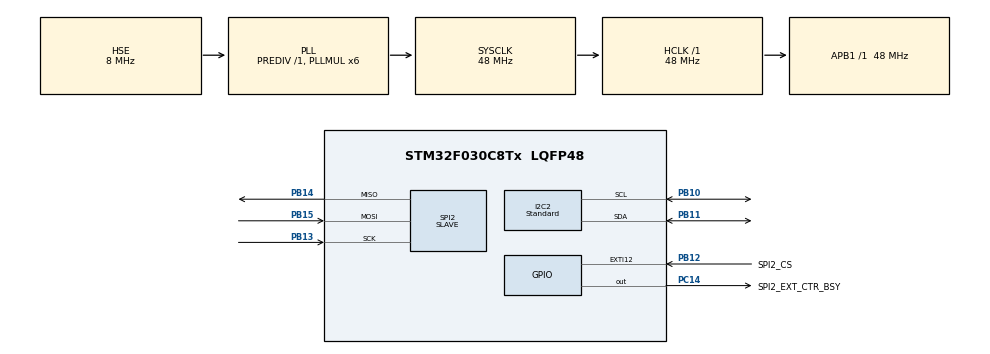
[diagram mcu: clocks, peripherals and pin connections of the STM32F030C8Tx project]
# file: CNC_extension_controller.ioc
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I2C2.Analog_Filter=I2C_ANALOGFILTER_DISABLE
I2C2.I2C_Speed_Mode=I2C_Standard
I2C2.NoStretchMode=I2C_NOSTRETCH_DISABLE
I2C2.Timing=0x10805E89
Mcu.Family=STM32F0
Mcu.Name=STM32F030C8Tx
Mcu.Package=LQFP48
NVIC.EXTI4_15_IRQn=true\:1\:0\:true\:false\:true\:true\:true\:true
NVIC.SPI2_IRQn=true\:2\:0\:true\:false\:true\:true\:true\:true
NVIC.TIM15_IRQn=true\:0\:0\:true\:false\:true\:true\:true\:true
PA13.Mode=Serial_Wire
PA13.Signal=SYS_SWDIO
PA14.Mode=Serial_Wire
PA14.Signal=SYS_SWCLK
PB10.GPIO_Pu=GPIO_NOPULL
PB10.GPIO_Speed=GPIO_SPEED_FREQ_MEDIUM
PB10.Mode=I2C
PB10.Signal=I2C2_SCL
PB11.GPIO_Pu=GPIO_NOPULL
PB11.GPIO_Speed=GPIO_SPEED_FREQ_MEDIUM
PB11.Mode=I2C
PB11.Signal=I2C2_SDA
PB12.GPIO_Label=SPI2_CS
PB12.GPIO_ModeDefaultEXTI=GPIO_MODE_IT_RISING_FALLING
PB12.Signal=GPXTI12
PB13.GPIO_PuPd=GPIO_PULLDOWN
PB13.Mode=Full_Duplex_Slave
PB13.Signal=SPI2_SCK
PB14.GPIO_PuPd=GPIO_NOPULL
PB14.Mode=Full_Duplex_Slave
PB14.Signal=SPI2_MISO
PB15.GPIO_PuPd=GPIO_NOPULL
PB15.Mode=Full_Duplex_Slave
PB15.Signal=SPI2_MOSI
PC14-OSC32_IN.GPIO_Label=SPI2_EXT_CTR_BSY
PC14-OSC32_IN.Signal=GPIO_Output
PF0-OSC_IN.Mode=HSE-External-Oscillator
PF0-OSC_IN.Signal=RCC_OSC_IN
PF1-OSC_OUT.Mode=HSE-External-Oscillator
PF1-OSC_OUT.Signal=RCC_OSC_OUT
ProjectManager.HeapSize=0x200
ProjectManager.StackSize=0x400
ProjectManager.TargetToolchain=STM32CubeIDE
RCC.AHBFreq_Value=48000000
RCC.APB1Freq_Value=48000000
RCC.APB1TimFreq_Value=48000000
RCC.HCLKFreq_Value=48000000
RCC.PLLMUL=RCC_PLL_MUL6
RCC.PLLSourceVirtual=RCC_PLLSOURCE_HSE
RCC.SYSCLKFreq_VALUE=48000000
RCC.SYSCLKSource=RCC_SYSCLKSOURCE_PLLCLK
SPI2.DataSize=SPI_DATASIZE_8BIT
SPI2.Direction=SPI_DIRECTION_2LINES
SPI2.Mode=SPI_MODE_SLAVE
SPI2.VirtualType=VM_SLAVE
TIM15.Channel-Output\ Compare1\ No\ Output=TIM_CHANNEL_1
TIM15.Prescaler=48
TIM15.Pulse-Output\ Compare1\ No\ Output=1
VP_TIM15_VS_ClockSourceINT.Mode=Internal
VP_TIM15_VS_no_output1.Mode=Output Compare1 No Output
board=custom

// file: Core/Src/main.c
/* USER CODE BEGIN Header */
/**
  ******************************************************************************
  * @file           : main.c
  * @brief          : Main program body
  ******************************************************************************
  * @attention
  *
  * Copyright (c) 2024 STMicroelectronics.
  * All rights reserved.
  *
  * This software is licensed under terms that can be found in the LICENSE file
  * in the root directory of this software component.
  * If no LICENSE file comes with this software, it is provided AS-IS.
  *
  ******************************************************************************
  */
/* USER CODE END Header */
#include "main.h"

I2C_HandleTypeDef hi2c2;

/* USER CODE BEGIN PV */
volatile uint8_t us_delay_flag = 0;

volatile uint8_t printing = 0;
volatile uint8_t reprint = 0;

extern volatile uint8_t spi2Buff[SPI2BUFFSIZE];

extern constant uint8_t stpcat [682];
extern volatile uint8_t spi2State;

extern volatile uint8_t line1Buff[LINEBUFFSIZE];
extern volatile uint8_t line2Buff[LINEBUFFSIZE];
extern volatile uint8_t line3Buff[LINEBUFFSIZE];
extern volatile uint8_t line4Buff[LINEBUFFSIZE];

extern volatile uint8_t lineupdate;

/* USER CODE END PV */

void SystemClock_Config(void);
static void MX_GPIO_Init(void);
static void MX_SPI2_Init(void);
static void MX_TIM15_Init(void);
static void MX_I2C2_Init(void);

int main(void)
{

  /* MCU Configuration--------------------------------------------------------*/

  /* Reset of all peripherals, Initializes the Flash interface and the Systick. */
  HAL_Init();

  /* Configure the system clock */
  SystemClock_Config();

  /* Initialize all configured peripherals */
  MX_GPIO_Init();
  MX_SPI2_Init();
  MX_TIM15_Init();
  MX_I2C2_Init();
  /* USER CODE BEGIN 2 */

  __enable_irq();

  msDelay(10);

  //LCD_init();
  oled_init();

  print_bmp_H(21, 63, stpcat, Pixel_on, Overwrite);
  print_disp_mat();
  /* USER CODE END 2 */

  /* Infinite loop */
  /* USER CODE BEGIN WHILE */

  while (1)
  {
	if((lineupdate != 0) || (reprint == 1))
	{
	  if(lineupdate&LINEUPDATE1MSK)
	  {
		fill_rectangle_x1y1_x2y2(0, 0, 8, 127, Pixel_off);
		(void)write_text_H(0, 55, (char*)line1Buff, Pixel_on, size_5x8);
		lineupdate &= (~LINEUPDATE1MSK);
	  }

	  if(lineupdate&LINEUPDATE2MSK)
	  {
		fill_rectangle_x1y1_x2y2(10, 0, 18, 127, Pixel_off);
		(void)write_text_H(0, 45, (char*)line2Buff, Pixel_on, size_5x8);
		lineupdate &= (~LINEUPDATE2MSK);
	  }

	  if(lineupdate&LINEUPDATE3MSK)
	  {
		fill_rectangle_x1y1_x2y2(20, 0, 28, 127, Pixel_off);
		write_text_H(0, 35, (char*)line3Buff, Pixel_on, size_5x8);
		lineupdate &= (~LINEUPDATE3MSK);
	  }

	  if(lineupdate&LINEUPDATE4MSK)
	  {
		fill_rectangle_x1y1_x2y2(10, 0, 18, 127, Pixel_off);
		(void)write_text_H(0, 45, (char*)line2Buff, Pixel_on, size_5x8);
		fill_rectangle_x1y1_x2y2(30, 0, 38, 127, Pixel_off);
		(void)write_text_H(0, 25, (char*)line4Buff, Pixel_on, size_5x8);
		lineupdate &= (~LINEUPDATE4MSK);
	  }

	  reprint = 0;
	  printing = 1;
	  print_disp_mat();
	  printing = 0;

	}

    /* USER CODE END WHILE */

  }
}

void SystemClock_Config(void)
{
  RCC_OscInitTypeDef RCC_OscInitStruct = {0};
  RCC_ClkInitTypeDef RCC_ClkInitStruct = {0};

  /** Initializes the RCC Oscillators according to the specified parameters
  * in the RCC_OscInitTypeDef structure.
  */
  RCC_OscInitStruct.OscillatorType = RCC_OSCILLATORTYPE_HSE;
  RCC_OscInitStruct.HSEState = RCC_HSE_ON;
  RCC_OscInitStruct.PLL.PLLState = RCC_PLL_ON;
  RCC_OscInitStruct.PLL.PLLSource = RCC_PLLSOURCE_HSE;
  RCC_OscInitStruct.PLL.PLLMUL = RCC_PLL_MUL6;
  RCC_OscInitStruct.PLL.PREDIV = RCC_PREDIV_DIV1;
  if (HAL_RCC_OscConfig(&RCC_OscInitStruct) != HAL_OK)
  {
    Error_Handler();
  }

  /** Initializes the CPU, AHB and APB buses clocks
  */
  RCC_ClkInitStruct.ClockType = RCC_CLOCKTYPE_HCLK|RCC_CLOCKTYPE_SYSCLK
                              |RCC_CLOCKTYPE_PCLK1;
  RCC_ClkInitStruct.SYSCLKSource = RCC_SYSCLKSOURCE_PLLCLK;
  RCC_ClkInitStruct.AHBCLKDivider = RCC_SYSCLK_DIV1;
  RCC_ClkInitStruct.APB1CLKDivider = RCC_HCLK_DIV1;

  if (HAL_RCC_ClockConfig(&RCC_ClkInitStruct, FLASH_LATENCY_1) != HAL_OK)
  {
    Error_Handler();
  }
}

static void MX_I2C2_Init(void)
{

  hi2c2.Instance = I2C2;
  hi2c2.Init.Timing = 0x10805E89;
  hi2c2.Init.OwnAddress1 = 0;
  hi2c2.Init.AddressingMode = I2C_ADDRESSINGMODE_7BIT;
  hi2c2.Init.DualAddressMode = I2C_DUALADDRESS_DISABLE;
  hi2c2.Init.OwnAddress2 = 0;
  hi2c2.Init.OwnAddress2Masks = I2C_OA2_NOMASK;
  hi2c2.Init.GeneralCallMode = I2C_GENERALCALL_DISABLE;
  hi2c2.Init.NoStretchMode = I2C_NOSTRETCH_DISABLE;
  if (HAL_I2C_Init(&hi2c2) != HAL_OK)
  {
    Error_Handler();
  }

  /** Configure Analogue filter
  */
  if (HAL_I2CEx_ConfigAnalogFilter(&hi2c2, I2C_ANALOGFILTER_DISABLE) != HAL_OK)
  {
    Error_Handler();
  }

  /** Configure Digital filter
  */
  if (HAL_I2CEx_ConfigDigitalFilter(&hi2c2, 0) != HAL_OK)
  {
    Error_Handler();
  }

}

static void MX_SPI2_Init(void)
{

  LL_SPI_InitTypeDef SPI_InitStruct = {0};

  LL_GPIO_InitTypeDef GPIO_InitStruct = {0};

  /* Peripheral clock enable */
  LL_APB1_GRP1_EnableClock(LL_APB1_GRP1_PERIPH_SPI2);

  LL_AHB1_GRP1_EnableClock(LL_AHB1_GRP1_PERIPH_GPIOB);
  /**SPI2 GPIO Configuration
  PB13   ------> SPI2_SCK
  PB14   ------> SPI2_MISO
  PB15   ------> SPI2_MOSI
  */
  GPIO_InitStruct.Pin = LL_GPIO_PIN_13;
  GPIO_InitStruct.Mode = LL_GPIO_MODE_ALTERNATE;
  GPIO_InitStruct.Speed = LL_GPIO_SPEED_FREQ_HIGH;
  GPIO_InitStruct.OutputType = LL_GPIO_OUTPUT_PUSHPULL;
  GPIO_InitStruct.Pull = LL_GPIO_PULL_DOWN;
  GPIO_InitStruct.Alternate = LL_GPIO_AF_0;
  LL_GPIO_Init(GPIOB, &GPIO_InitStruct);

  GPIO_InitStruct.Pin = LL_GPIO_PIN_14;
  GPIO_InitStruct.Mode = LL_GPIO_MODE_ALTERNATE;
  GPIO_InitStruct.Speed = LL_GPIO_SPEED_FREQ_HIGH;
  GPIO_InitStruct.OutputType = LL_GPIO_OUTPUT_PUSHPULL;
  GPIO_InitStruct.Pull = LL_GPIO_PULL_NO;
  GPIO_InitStruct.Alternate = LL_GPIO_AF_0;
  LL_GPIO_Init(GPIOB, &GPIO_InitStruct);

  GPIO_InitStruct.Pin = LL_GPIO_PIN_15;
  GPIO_InitStruct.Mode = LL_GPIO_MODE_ALTERNATE;
  GPIO_InitStruct.Speed = LL_GPIO_SPEED_FREQ_HIGH;
  GPIO_InitStruct.OutputType = LL_GPIO_OUTPUT_PUSHPULL;
  GPIO_InitStruct.Pull = LL_GPIO_PULL_NO;
  GPIO_InitStruct.Alternate = LL_GPIO_AF_0;
  LL_GPIO_Init(GPIOB, &GPIO_InitStruct);

  /* SPI2 interrupt Init */
  NVIC_SetPriority(SPI2_IRQn, 2);
  NVIC_EnableIRQ(SPI2_IRQn);

  /* SPI2 parameter configuration*/
  SPI_InitStruct.TransferDirection = LL_SPI_FULL_DUPLEX;
  SPI_InitStruct.Mode = LL_SPI_MODE_SLAVE;
  SPI_InitStruct.DataWidth = LL_SPI_DATAWIDTH_8BIT;
  SPI_InitStruct.ClockPolarity = LL_SPI_POLARITY_LOW;
  SPI_InitStruct.ClockPhase = LL_SPI_PHASE_1EDGE;
  SPI_InitStruct.NSS = LL_SPI_NSS_SOFT;
  SPI_InitStruct.BitOrder = LL_SPI_MSB_FIRST;
  SPI_InitStruct.CRCCalculation = LL_SPI_CRCCALCULATION_DISABLE;
  SPI_InitStruct.CRCPoly = 7;
  LL_SPI_Init(SPI2, &SPI_InitStruct);
  LL_SPI_SetStandard(SPI2, LL_SPI_PROTOCOL_MOTOROLA);
  LL_SPI_DisableNSSPulseMgt(SPI2);

}

static void MX_TIM15_Init(void)
{

  LL_TIM_InitTypeDef TIM_InitStruct = {0};
  LL_TIM_OC_InitTypeDef TIM_OC_InitStruct = {0};
  LL_TIM_BDTR_InitTypeDef TIM_BDTRInitStruct = {0};

  /* Peripheral clock enable */
  LL_APB1_GRP2_EnableClock(LL_APB1_GRP2_PERIPH_TIM15);

  /* TIM15 interrupt Init */
  NVIC_SetPriority(TIM15_IRQn, 0);
  NVIC_EnableIRQ(TIM15_IRQn);

  TIM_InitStruct.Prescaler = 48;
  TIM_InitStruct.CounterMode = LL_TIM_COUNTERMODE_UP;
  TIM_InitStruct.Autoreload = 65535;
  TIM_InitStruct.ClockDivision = LL_TIM_CLOCKDIVISION_DIV1;
  TIM_InitStruct.RepetitionCounter = 0;
  LL_TIM_Init(TIM15, &TIM_InitStruct);
  LL_TIM_DisableARRPreload(TIM15);
  LL_TIM_SetClockSource(TIM15, LL_TIM_CLOCKSOURCE_INTERNAL);
  TIM_OC_InitStruct.OCMode = LL_TIM_OCMODE_FROZEN;
  TIM_OC_InitStruct.OCState = LL_TIM_OCSTATE_DISABLE;
  TIM_OC_InitStruct.OCNState = LL_TIM_OCSTATE_DISABLE;
  TIM_OC_InitStruct.CompareValue = 1;
  TIM_OC_InitStruct.OCPolarity = LL_TIM_OCPOLARITY_HIGH;
  TIM_OC_InitStruct.OCNPolarity = LL_TIM_OCPOLARITY_HIGH;
  TIM_OC_InitStruct.OCIdleState = LL_TIM_OCIDLESTATE_LOW;
  TIM_OC_InitStruct.OCNIdleState = LL_TIM_OCIDLESTATE_LOW;
  LL_TIM_OC_Init(TIM15, LL_TIM_CHANNEL_CH1, &TIM_OC_InitStruct);
  LL_TIM_OC_DisableFast(TIM15, LL_TIM_CHANNEL_CH1);
  LL_TIM_SetTriggerOutput(TIM15, LL_TIM_TRGO_RESET);
  LL_TIM_DisableMasterSlaveMode(TIM15);
  TIM_BDTRInitStruct.OSSRState = LL_TIM_OSSR_DISABLE;
  TIM_BDTRInitStruct.OSSIState = LL_TIM_OSSI_DISABLE;
  TIM_BDTRInitStruct.LockLevel = LL_TIM_LOCKLEVEL_OFF;
  TIM_BDTRInitStruct.DeadTime = 0;
  TIM_BDTRInitStruct.BreakState = LL_TIM_BREAK_DISABLE;
  TIM_BDTRInitStruct.BreakPolarity = LL_TIM_BREAK_POLARITY_HIGH;
  TIM_BDTRInitStruct.AutomaticOutput = LL_TIM_AUTOMATICOUTPUT_DISABLE;
  LL_TIM_BDTR_Init(TIM15, &TIM_BDTRInitStruct);

}

static void MX_GPIO_Init(void)
{
  LL_EXTI_InitTypeDef EXTI_InitStruct = {0};
  LL_GPIO_InitTypeDef GPIO_InitStruct = {0};

  /* GPIO Ports Clock Enable */
  LL_AHB1_GRP1_EnableClock(LL_AHB1_GRP1_PERIPH_GPIOC);
  LL_AHB1_GRP1_EnableClock(LL_AHB1_GRP1_PERIPH_GPIOF);
  LL_AHB1_GRP1_EnableClock(LL_AHB1_GRP1_PERIPH_GPIOB);
  LL_AHB1_GRP1_EnableClock(LL_AHB1_GRP1_PERIPH_GPIOA);

  /**/
  LL_GPIO_ResetOutputPin(SPI2_EXT_CTR_BSY_GPIO_Port, SPI2_EXT_CTR_BSY_Pin);

  /**/
  GPIO_InitStruct.Pin = SPI2_EXT_CTR_BSY_Pin;
  GPIO_InitStruct.Mode = LL_GPIO_MODE_OUTPUT;
  GPIO_InitStruct.Speed = LL_GPIO_SPEED_FREQ_LOW;
  GPIO_InitStruct.OutputType = LL_GPIO_OUTPUT_PUSHPULL;
  GPIO_InitStruct.Pull = LL_GPIO_PULL_NO;
  LL_GPIO_Init(SPI2_EXT_CTR_BSY_GPIO_Port, &GPIO_InitStruct);

  /**/
  LL_SYSCFG_SetEXTISource(LL_SYSCFG_EXTI_PORTB, LL_SYSCFG_EXTI_LINE12);

  /**/
  LL_GPIO_SetPinPull(SPI2_CS_GPIO_Port, SPI2_CS_Pin, LL_GPIO_PULL_NO);

  /**/
  LL_GPIO_SetPinMode(SPI2_CS_GPIO_Port, SPI2_CS_Pin, LL_GPIO_MODE_INPUT);

  /**/
  EXTI_InitStruct.Line_0_31 = LL_EXTI_LINE_12;
  EXTI_InitStruct.LineCommand = ENABLE;
  EXTI_InitStruct.Mode = LL_EXTI_MODE_IT;
  EXTI_InitStruct.Trigger = LL_EXTI_TRIGGER_RISING_FALLING;
  LL_EXTI_Init(&EXTI_InitStruct);

  /* EXTI interrupt init*/
  NVIC_SetPriority(EXTI4_15_IRQn, 1);
  NVIC_EnableIRQ(EXTI4_15_IRQn);

}

/* USER CODE BEGIN 4 */

/*
 * using this delay the us_delay_flag will not reset after the delay done. To be able to use properly this again us_delay_flag must be reset manually.
 */
void usDelay_noblock(uint32_t val)
{
#ifdef USE_INTERRUPT_US_DELAY
	//__enable_irq();
	LL_TIM_SetCounter(TIM15, 0);
	LL_TIM_EnableIT_CC1(TIM15);
	LL_TIM_OC_SetCompareCH1(TIM15, val);
	LL_TIM_SetAutoReload(TIM15, val);
	LL_TIM_EnableCounter(TIM15);
	LL_TIM_CC_EnableChannel(TIM15, LL_TIM_CHANNEL_CH1);
	//while(us_delay_flag != 1)	{ __NOP();}
	//us_delay_flag=0;
	//__disable_irq();
#endif

#ifdef USE_BLOCKING_US_DELAY
	while(val)
	{//72db nop = 1us (when clok is 72MHz) //rough estimate, bacause it has to do instructions for the loop too
		__NOP(); __NOP(); __NOP(); __NOP(); __NOP(); __NOP();
		__NOP(); __NOP(); __NOP(); __NOP(); __NOP(); __NOP();
		__NOP(); __NOP(); __NOP(); __NOP(); __NOP(); __NOP();
		__NOP(); __NOP(); __NOP(); __NOP(); __NOP(); __NOP();
		__NOP(); __NOP(); __NOP(); __NOP(); __NOP(); __NOP();
		__NOP(); __NOP(); __NOP(); __NOP(); __NOP(); __NOP();
		__NOP(); __NOP(); __NOP(); __NOP(); __NOP(); __NOP();
		__NOP(); __NOP(); __NOP(); __NOP(); __NOP(); __NOP();
		__NOP(); __NOP(); __NOP(); __NOP(); __NOP(); __NOP();
		__NOP(); __NOP(); __NOP(); __NOP(); __NOP(); __NOP();
		__NOP(); __NOP(); __NOP(); __NOP(); __NOP(); __NOP();
		__NOP(); __NOP(); __NOP(); __NOP(); __NOP(); __NOP();
		val--;
	}
#endif
}

void msDelay(uint32_t val)
{
	while(val)
	{
		val--;
		usDelay(1000);
	}
}

void usDelay(uint32_t val)
{
#ifdef USE_INTERRUPT_US_DELAY
	//__enable_irq();
	LL_TIM_SetCounter(TIM15, 0);
	LL_TIM_EnableIT_CC1(TIM15);
	LL_TIM_OC_SetCompareCH1(TIM15, val);
	LL_TIM_SetAutoReload(TIM15, val);
	LL_TIM_EnableCounter(TIM15);
	LL_TIM_CC_EnableChannel(TIM15, LL_TIM_CHANNEL_CH1);
	while(us_delay_flag != 1)	{ __NOP();}
	us_delay_flag=0;
	//__disable_irq();
#endif

#ifdef USE_BLOCKING_US_DELAY
	while(val)
	{//72db nop = 1us (when clok is 72MHz) //rough estimate, bacause it has to do instructions for the loop too
		__NOP(); __NOP(); __NOP(); __NOP(); __NOP(); __NOP();
		__NOP(); __NOP(); __NOP(); __NOP(); __NOP(); __NOP();
		__NOP(); __NOP(); __NOP(); __NOP(); __NOP(); __NOP();
		__NOP(); __NOP(); __NOP(); __NOP(); __NOP(); __NOP();
		__NOP(); __NOP(); __NOP(); __NOP(); __NOP(); __NOP();
		__NOP(); __NOP(); __NOP(); __NOP(); __NOP(); __NOP();
		__NOP(); __NOP(); __NOP(); __NOP(); __NOP(); __NOP();
		__NOP(); __NOP(); __NOP(); __NOP(); __NOP(); __NOP();
		__NOP(); __NOP(); __NOP(); __NOP(); __NOP(); __NOP();
		__NOP(); __NOP(); __NOP(); __NOP(); __NOP(); __NOP();
		__NOP(); __NOP(); __NOP(); __NOP(); __NOP(); __NOP();
		__NOP(); __NOP(); __NOP(); __NOP(); __NOP(); __NOP();
		val--;
	}
#endif
}

/* USER CODE END 4 */

void Error_Handler(void)
{
  __disable_irq();
  while (1)
  {
  }
}
